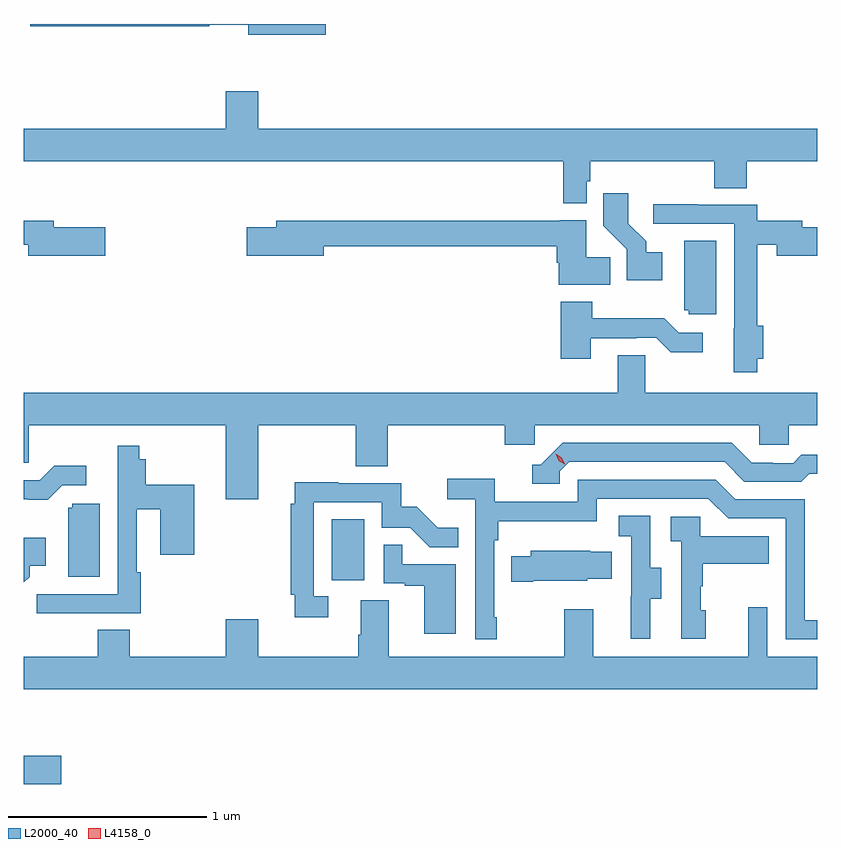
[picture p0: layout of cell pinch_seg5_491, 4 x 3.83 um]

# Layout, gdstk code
import gdstk
lib = gdstk.Library(unit=1e-6, precision=1e-09)
def R(c, l, rs):  # rectangles x0, y0, x1, y1
    for r in rs: c.add(gdstk.rectangle(r[:2], r[2:], *l))
def P(c, l, *ps):  # polygons
    for p in ps: c.add(gdstk.Polygon(p, *l))
L2000_40 = (2000, 40)
L4158_0 = (4158, 0)

pinch_seg5_491 = lib.new_cell('pinch_seg5_491')
R(pinch_seg5_491, L2000_40, [(895.258,837.635,895.447,837.777), (896.81,838.662,896.974,838.969)])
P(pinch_seg5_491, L2000_40, [(896.779,841.467),(895.291,841.467),(895.291,841.456),(896.194,841.456),(896.194,841.464),(896.39,841.464),(896.39,841.414),(896.779,841.414)],
  [(898.095,840.675),(898.115,840.675),(898.115,840.776),(898.739,840.776),(898.739,840.64),(898.904,840.64),(898.904,840.776),(899.258,840.776),(899.258,840.94),(896.44,840.94),(896.44,841.129),(896.276,841.129),(896.276,840.94),(895.258,840.94),(895.258,840.776),(897.979,840.776),(897.979,840.563),(898.095,840.563)],
  [(898.477,840.316),(898.396,840.316),(898.396,840.371),(898.306,840.461),(898.306,840.613),(898.18,840.613),(898.18,840.45),(898.299,840.331),(898.299,840.176),(898.477,840.176)],
  [(898.955,839.78),(898.985,839.78),(898.985,839.946),(898.955,839.946),(898.955,840.354),(899.054,840.354),(899.054,840.299),(899.258,840.299),(899.258,840.441),(899.182,840.441),(899.182,840.475),(898.955,840.475),(898.955,840.555),(898.655,840.555),(898.655,840.558),(898.431,840.558),(898.431,840.459),(898.839,840.459),(898.839,839.934),(898.838,839.934),(898.838,839.712),(898.955,839.712)],
  [(898.214,840.29),(898.093,840.29),(898.093,840.478),(897.96,840.478),(897.96,840.475),(896.531,840.475),(896.531,840.441),(896.382,840.441),(896.382,840.299),(896.77,840.299),(896.77,840.346),(897.944,840.346),(897.944,840.263),(897.956,840.263),(897.956,840.152),(898.214,840.152)],
  [(895.669,840.441),(895.408,840.441),(895.408,840.475),(895.258,840.475),(895.258,840.354),(895.28,840.354),(895.28,840.299),(895.669,840.299)],
  [(898.75,840.373),(898.589,840.373),(898.589,840.024),(898.611,840.024),(898.611,840.003),(898.75,840.003)],
  [(898.117,839.883),(898.346,839.883),(898.346,839.886),(898.446,839.886),(898.519,839.813),(898.681,839.813),(898.681,839.91),(898.56,839.91),(898.487,839.983),(898.125,839.983),(898.125,840.067),(897.965,840.067),(897.965,839.778),(898.117,839.778)],
  [(896.44,839.444),(896.932,839.444),(896.932,839.236),(897.092,839.236),(897.092,839.444),(897.683,839.444),(897.683,839.346),(897.834,839.346),(897.834,839.444),(898.965,839.444),(898.965,839.346),(899.115,839.346),(899.115,839.444),(899.258,839.444),(899.258,839.608),(898.392,839.608),(898.392,839.798),(898.253,839.798),(898.253,839.608),(895.258,839.608),(895.258,839.254),(895.284,839.254),(895.284,839.444),(896.276,839.444),(896.276,839.07),(896.44,839.07)],
  [(897.96,839.211),(898.008,839.259),(898.791,839.259),(898.89,839.16),(899.179,839.16),(899.218,839.199),(899.258,839.199),(899.258,839.296),(899.179,839.296),(899.137,839.253),(899.034,839.253),(899.034,839.256),(898.927,839.256),(898.828,839.355),(897.975,839.355),(897.864,839.244),(897.821,839.244),(897.821,839.148),(897.96,839.148)],
  [(895.547,838.497),(895.847,838.497),(895.847,838.703),(895.827,838.703),(895.827,839.021),(895.946,839.021),(895.946,838.791),(896.117,838.791),(896.117,839.143),(895.872,839.143),(895.872,839.272),(895.84,839.272),(895.84,839.341),(895.731,839.341),(895.731,838.593),(895.323,838.593),(895.323,838.495),(895.547,838.495)],
  [(895.452,839.142),(895.573,839.142),(895.573,839.239),(895.411,839.239),(895.338,839.166),(895.258,839.166),(895.258,839.07),(895.28,839.07),(895.28,839.069),(895.379,839.069)],
  [(897.643,838.477),(897.63,838.477),(897.63,838.865),(897.65,838.865),(897.65,838.961),(898.146,838.961),(898.146,839.073),(898.71,839.073),(898.809,838.974),(899.1,838.974),(899.1,838.365),(899.258,838.365),(899.258,838.461),(899.196,838.461),(899.196,839.07),(898.846,839.07),(898.747,839.169),(898.05,839.169),(898.05,839.058),(897.632,839.058),(897.632,839.174),(897.393,839.174),(897.393,839.072),(897.534,839.072),(897.534,838.365),(897.643,838.365)],
  [(896.794,838.581),(896.721,838.581),(896.721,839.055),(897.063,839.055),(897.063,838.926),(897.207,838.926),(897.305,838.828),(897.449,838.828),(897.449,838.927),(897.345,838.927),(897.238,839.034),(897.162,839.034),(897.162,839.151),(896.843,839.151),(896.843,839.156),(896.624,839.156),(896.624,839.048),(896.605,839.048),(896.605,838.588),(896.624,838.588),(896.624,838.476),(896.794,838.476)],
  [(895.642,839.049),(895.503,839.049),(895.503,839.028),(895.481,839.028),(895.481,838.68),(895.642,838.68)],
  [(898.417,838.57),(898.471,838.57),(898.471,838.725),(898.416,838.725),(898.416,838.988),(898.257,838.988),(898.257,838.885),(898.32,838.885),(898.32,838.581),(898.319,838.581),(898.319,838.368),(898.417,838.368)],
  [(898.696,838.512),(898.671,838.512),(898.671,838.631),(898.681,838.631),(898.681,838.745),(899.015,838.745),(899.015,838.885),(898.668,838.885),(898.668,838.983),(898.521,838.983),(898.521,838.859),(898.572,838.859),(898.572,838.368),(898.696,838.368)],
  [(895.288,838.681),(895.288,838.736),(895.369,838.736),(895.369,838.876),(895.258,838.876),(895.258,838.651)],
  [(897.436,838.743),(897.167,838.743),(897.167,838.841),(897.072,838.841),(897.072,838.647),(897.179,838.647),(897.179,838.635),(897.278,838.635),(897.278,838.392),(897.436,838.392)],
  [(897.826,838.661),(898.098,838.661),(898.098,838.67),(898.223,838.67),(898.223,838.807),(898.115,838.807),(898.115,838.81),(897.813,838.81),(897.813,838.783),(897.715,838.783),(897.715,838.654),(897.826,838.654)],
  [(899.258,838.276),(899.007,838.276),(899.007,838.525),(898.91,838.525),(898.91,838.276),(898.129,838.276),(898.129,838.516),(897.982,838.516),(897.982,838.276),(897.097,838.276),(897.097,838.562),(896.957,838.562),(896.957,838.388),(896.945,838.388),(896.945,838.276),(896.44,838.276),(896.44,838.465),(896.276,838.465),(896.276,838.276),(895.791,838.276),(895.791,838.412),(895.631,838.412),(895.631,838.276),(895.258,838.276),(895.258,838.112),(899.258,838.112)])
P(pinch_seg5_491, L4158_0, [(897.985,839.246),(897.955,839.266),(897.939,839.3),(897.939,839.3),(897.94,839.3),(897.97,839.279),(897.985,839.246),(897.985,839.246)])

lib.write_gds('pinch_seg5_491.gds')
